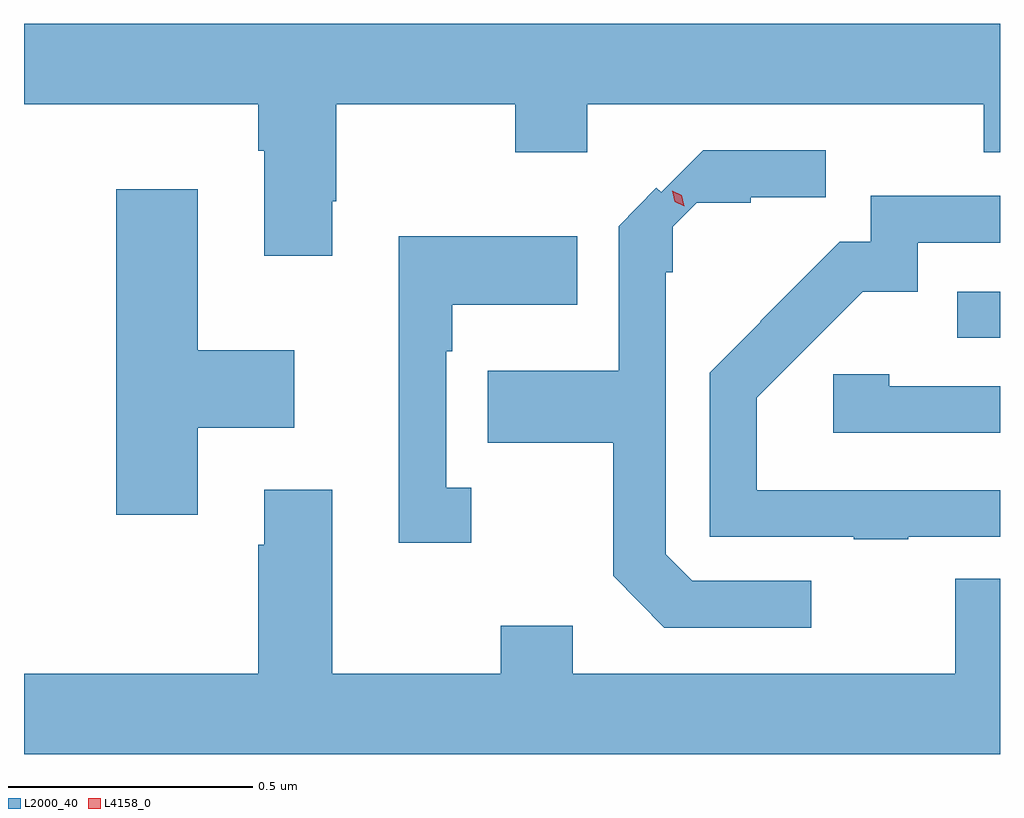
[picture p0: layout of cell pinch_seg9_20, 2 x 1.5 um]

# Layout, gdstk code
import gdstk
lib = gdstk.Library(unit=1e-6, precision=1e-09)
def R(c, l, rs):  # rectangles x0, y0, x1, y1
    for r in rs: c.add(gdstk.rectangle(r[:2], r[2:], *l))
def P(c, l, *ps):  # polygons
    for p in ps: c.add(gdstk.Polygon(p, *l))
L2000_40 = (2000, 40)
L4158_0 = (4158, 0)

pinch_seg9_20 = lib.new_cell('pinch_seg9_20')
R(pinch_seg9_20, L2000_40, [(1144.539,1210.593,1144.627,1210.687)])
P(pinch_seg9_20, L2000_40, [(1143.259,1210.873),(1143.267,1210.873),(1143.267,1211.072),(1143.634,1211.072),(1143.634,1210.973),(1143.781,1210.973),(1143.781,1211.072),(1144.594,1211.072),(1144.594,1210.973),(1144.627,1210.973),(1144.627,1211.236),(1142.627,1211.236),(1142.627,1211.072),(1143.107,1211.072),(1143.107,1210.976),(1143.119,1210.976),(1143.119,1210.761),(1143.259,1210.761)],
  [(1144.24,1210.095),(1143.996,1210.095),(1143.942,1210.149),(1143.942,1210.727),(1143.956,1210.727),(1143.956,1210.82),(1144.006,1210.87),(1144.116,1210.87),(1144.116,1210.881),(1144.27,1210.881),(1144.27,1210.977),(1144.019,1210.977),(1143.933,1210.891),(1143.923,1210.9),(1143.846,1210.822),(1143.846,1210.525),(1143.577,1210.525),(1143.577,1210.378),(1143.834,1210.378),(1143.834,1210.105),(1143.939,1209.999),(1144.24,1209.999)],
  [(1142.983,1210.409),(1143.181,1210.409),(1143.181,1210.567),(1142.983,1210.567),(1142.983,1210.897),(1142.816,1210.897),(1142.816,1210.23),(1142.983,1210.23)],
  [(1144.439,1210.185),(1144.627,1210.185),(1144.627,1210.281),(1144.129,1210.281),(1144.129,1210.47),(1144.346,1210.687),(1144.458,1210.687),(1144.458,1210.788),(1144.627,1210.788),(1144.627,1210.884),(1144.362,1210.884),(1144.362,1210.79),(1144.299,1210.79),(1144.136,1210.627),(1144.137,1210.626),(1144.032,1210.521),(1144.032,1210.185),(1144.327,1210.185),(1144.327,1210.18),(1144.439,1210.18)],
  [(1143.544,1210.286),(1143.492,1210.286),(1143.492,1210.565),(1143.505,1210.565),(1143.505,1210.661),(1143.761,1210.661),(1143.761,1210.801),(1143.395,1210.801),(1143.395,1210.173),(1143.544,1210.173)],
  [(1144.627,1210.494),(1144.4,1210.494),(1144.4,1210.518),(1144.285,1210.518),(1144.285,1210.398),(1144.627,1210.398)],
  [(1144.627,1210.099),(1144.535,1210.099),(1144.535,1209.904),(1143.751,1209.904),(1143.751,1210.003),(1143.604,1210.003),(1143.604,1209.904),(1143.259,1209.904),(1143.259,1210.282),(1143.119,1210.282),(1143.119,1210.169),(1143.107,1210.169),(1143.107,1209.904),(1142.627,1209.904),(1142.627,1209.74),(1144.627,1209.74)])
P(pinch_seg9_20, L4158_0, [(1143.98,1210.863),(1143.96,1210.872),(1143.955,1210.894),(1143.955,1210.894),(1143.955,1210.894),(1143.975,1210.885),(1143.98,1210.863),(1143.98,1210.863)])

lib.write_gds('pinch_seg9_20.gds')
